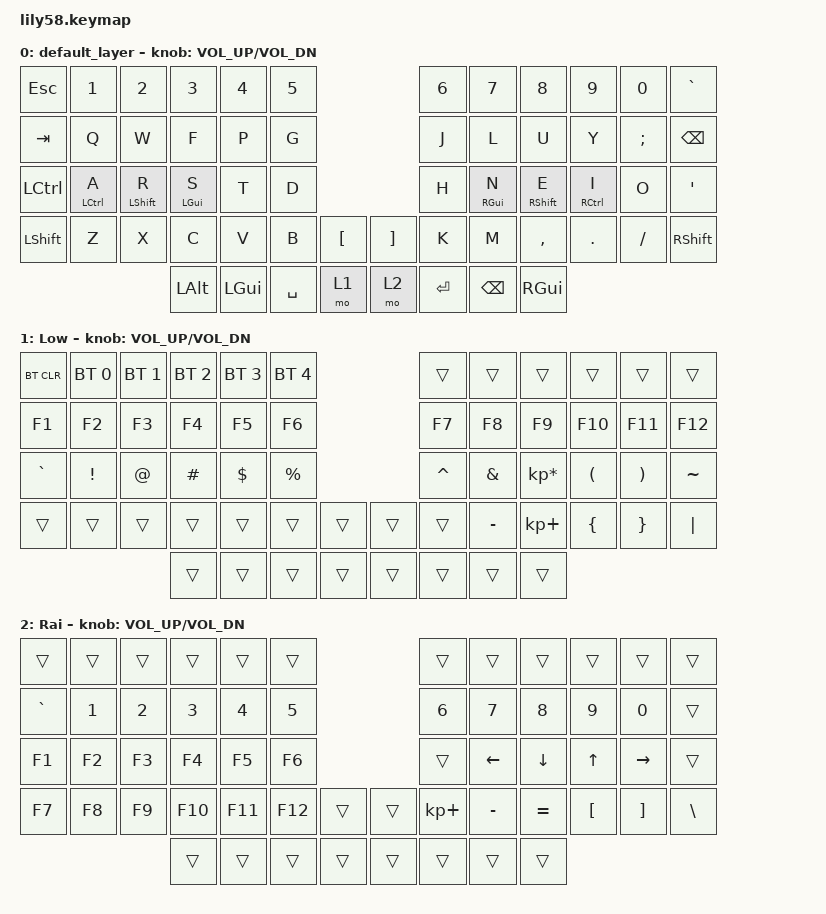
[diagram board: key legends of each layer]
#include <behaviors.dtsi>
#include <dt-bindings/zmk/keys.h>
#include <dt-bindings/zmk/bt.h>
#include <dt-bindings/zmk/ext_power.h>
#include "keymap_de_symbols.dtsi"

 // Lily58 Key Matrix
 // -----------------
 //  ╭────────────────────────╮       ╭────────────────────────╮
 //  │  0   1   2   3   4   5 ╰───┬───╯  6   7   8   9  10  11 │
 //  │ 12  13  14  15  16  17     │     18  19  20  21  22  23 │
 //  │ 24  25  26  27  28  29     │     30  31  32  33  34  35 │
 //  │ 36  37  38  39  40  41  42 │ 43  44  45  46  47  48  49 │
 //  ╰───────────╮ 50  51  52  53 │ 54  55  56  57 ╭───────────╯
 //              ╰────────────────┴────────────────╯



/ {
    keymap {
        compatible = "zmk,keymap";

        default_layer {
                // ------------------------------------------------------------------------------------------------------------
                // |  ESC  |  1  |  2  |  3   |  4   |  5   |                   |  6   |  7    |  8    |  9   |   0   |   `   |
                // |  TAB  |  Q  |  W  |  F   |  P   |  G   |                   |  J   |  L    |  U    |  Y   |   ;   |   BSP |
                // |  CTRL |  A  |  R  |  S   |  T   |  D   |                   |  H   |  N    |  E    |  I   |   O   |   "   |
                // | SHIFT |  Z  |  X  |  C   |  V   |  B   |                   |  K   |  M    |  ,    |  .   |   ?   | SHIFT |
                //                     | ALT  | GUI  | SPACE|  LOWER |  | RAISE | ENTER| BSPC  | GUI   |
            bindings = <
                &kp ESC       &kp N1        &kp N2        &kp N3        &kp N4        &kp N5                                    &kp N6        &kp  N7       &kp  N8         &kp  N9       &kp  N0       &kp  GRAVE
                &kp TAB       &kp  Q        &kp  W        &kp  F        &kp  P        &kp G                                     &kp  J        &kp  L        &kp  U          &kp  Y        &kp  SEMI     &kp  BSPC
                &kp LCTRL     &hml LCTRL A  &hml LSHIFT R &hml LGUI S   &kp  T        &kp D                                     &kp H         &hmr RGUI N   &hmr RSHIFT E   &hmr RCTRL I  &kp O         &kp  SQT
                &kp LSHFT     &kp  Z        &kp  X        &kp  C        &kp  V        &kp B         &kp LBKT      &kp RBKT      &kp  K        &kp  M        &kp  COMMA      &kp  DOT      &kp  FSLH     &kp  RSHFT
                                                          &kp LALT      &kp LGUI      &kp SPACE     &mo 1         &mo 2         &kp RET       &kp BSPC      &kp RGUI
            >;

            sensor-bindings = <&inc_dec_kp C_VOL_UP C_VOL_DN>;
        };

        lower_layer {
                // ------------------------------------------------------------------------------------------------------------
                // | BTCLR | BT1 | BT2 |  BT3 |  BT4 |  BT5 |                   |      |       |       |      |       |       |
                // |  F1   |  F2 |  F3 |  F4  |  F5  |  F6  |                   |  F7  |  F8   |  F9   |  F10 |  F11  |  F12  |
                // |   `   |  !  |  @  |  #   |  $   |  %   |                   |  ^   |  &    |  *    |  (   |   )   |   ~   |
                // |       |     |     |      |      |      |        |  |       |      |  _    |  +    |  {   |   }   |  "|"  |
                //                     |      |      |      |        |  |       |      |       |       |
            display-name = "Low";
            bindings = <
                &bt BT_CLR    &bt BT_SEL 0  &bt BT_SEL 1  &bt BT_SEL 2  &bt BT_SEL 3  &bt BT_SEL 4                              &trans        &trans        &trans          &trans        &trans        &trans
                &kp F1        &kp F2        &kp F3        &kp F4        &kp F5        &kp F6                                    &kp F7        &kp F8        &kp F9          &kp F10       &kp F11       &kp F12
                &kp GRAVE     &kp EXCL      &kp AT        &kp HASH      &kp DOLLAR    &kp PRCNT                                 &kp CARET     &kp AMPS      &kp KP_MULTIPLY &kp LPAR      &kp RPAR      &kp TILDE
                &trans        &trans        &trans        &trans        &trans        &trans        &trans        &trans        &trans        &kp MINUS     &kp KP_PLUS     &kp LBRC      &kp RBRC      &kp PIPE
                                                          &trans        &trans        &trans        &trans        &trans        &trans        &trans        &trans
            >;

            sensor-bindings = <&inc_dec_kp C_VOL_UP C_VOL_DN>;
        };

        raise_layer {
                // ------------------------------------------------------------------------------------------------------------
                // |       |     |     |      |      |      |                   |      |       |       |      |       |       |
                // |   `   |  1  |  2  |  3   |  4   |  5   |                   |  6   |   7   |   8   |  9   |   0   |       |
                // |   F1  |  F2 |  F3 |  F4  |  F5  |  F6  |                   |      |   <-  |   v   |  ^   |  ->   |       |
                // |   F7  |  F8 |  F9 |  F10 |  F11 |  F12 |        |  |       |  +   |   -   |   =   |  [   |   ]   |   \   |
                //                     |      |      |      |        |  |       |      |       |       |
            display-name = "Rai";
            bindings = <
                &trans        &trans        &trans        &trans        &trans        &trans                                    &trans        &trans        &trans          &trans        &trans        &trans
                &kp GRAVE     &kp N1        &kp N2        &kp N3        &kp N4        &kp N5                                    &kp N6        &kp N7        &kp N8          &kp N9        &kp N0        &trans
                &kp F1        &kp F2        &kp F3        &kp F4        &kp F5        &kp F6                                    &trans        &kp LEFT      &kp DOWN        &kp UP        &kp RIGHT     &trans
                &kp F7        &kp F8        &kp F9        &kp F10       &kp F11       &kp F12       &trans        &trans        &kp KP_PLUS   &kp MINUS     &kp EQUAL       &kp LBKT      &kp RBKT      &kp BSLH
                                                          &trans        &trans        &trans        &trans        &trans        &trans        &trans        &trans
            >;

            sensor-bindings = <&inc_dec_kp C_VOL_UP C_VOL_DN>;
        };
    };

    // https://zmk.dev/docs/keymaps/behaviors
    behaviors {
        /*
         * homerow mod
         * https://zmk.dev/docs/keymaps/behaviors/hold-tap#custom-hold-tap-examples
         */
        hml: homerow_mods_left {
            compatible = "zmk,behavior-hold-tap";

            // hold: 1st key
            // tab:  2nd key
            bindings = <&kp>, <&kp>;

            #binding-cells = <2>;
            tapping-term-ms = <150>;
            quick-tap-ms = <125>;
            flavor = "balanced";
            require-prior-idle-ms = <150>;
            // index based on the switch position
            hold-trigger-key-positions = <6 7 8 9 10 11 18 19 20 21 22 23 30 31 32 33 34 35 43 44 45 46 47 48 49 54 55 56 57>;
            hold-trigger-on-release;
        };
        hmr: homerow_mods_right {
            compatible = "zmk,behavior-hold-tap";

            // hold: 1st key
            // tab:  2nd key
            bindings = <&kp>, <&kp>;

            #binding-cells = <2>;
            tapping-term-ms = <150>;
            quick-tap-ms = <125>;
            require-prior-idle-ms = <150>;
            hold-trigger-key-positions = <0 1 2 3 4 5 12 13 14 15 16 17 24 25 26 27 28 29 36 37 38 39 40 41 42 50 51 52 53>;
            flavor = "balanced";
            hold-trigger-on-release;
        };

        /*
         * tap-dance
         *
         * different key on each press
         * https://zmk.dev/docs/behaviors/tap-dance
         */
        td0: tap_dance_0 {
            compatible = "zmk,behavior-tap-dance";
            #binding-cells = <0>;
            tapping-term-ms = <200>; // Default: 200ms
            bindings = <&mt N1 Q>, <&mt N1 ESC>;
        };
    };

    // https://zmk.dev/docs/keymaps/combos
    combos {
        compatible = "zmk,combos";

        combo_brace_left {
            timeout-ms = <30>;
            key-positions = <27 28>;
            bindings = <&kp RA(N7)>;
        };

        combo_brace_right {
            timeout-ms = <30>;
            key-positions = <31 32>;
            bindings = <&kp RA(N0)>;
        };

        combo_bracket_left {
            timeout-ms = <30>;
            key-positions = <39 40>;
            bindings = <&kp RA(N8)>;
        };

        combo_bracket_right {
            timeout-ms = <30>;
            key-positions = <44 45>;
            bindings = <&kp RA(N9)>;
        };

        combo_parenthesis_left {
            timeout-ms = <30>;
            key-positions = <28 29>;
            bindings = <&kp LS(N8)>;
        };

        combo_parenthesis_right {
            timeout-ms = <30>;
            key-positions = <30 31>;
            bindings = <&kp LS(N9)>;
        };
    };

    // https://zmk.dev/docs/keymaps/conditional-layers
    conditional_layers {
        compatible = "zmk,conditional-layers";
        tri_layer {
            if-layers = <1 2>;
            then-layer = <3>;
        };
    };

    // https://zmk.dev/docs/keymaps/behaviors/macros
    macros {
        mail: mail {
            compatible = "zmk,behavior-macro";
            #binding-cells = <0>;
            wait-ms = <0>; // default: 15ms  Delay between each binging
            tap-ms = <30>; // default: 30ms  How long each binding will be held
            bindings
                = <&macro_tap &kp N &kp I &kp N &kp O> 
                , <&macro_tap &kp AT>
                , <&macro_tap &kp N &kp I &kp N &kp O>
                , <&macro_release &kp PERIOD>
                , <&macro_tap &kp D &kp E>
                ;
        };
    };
};
